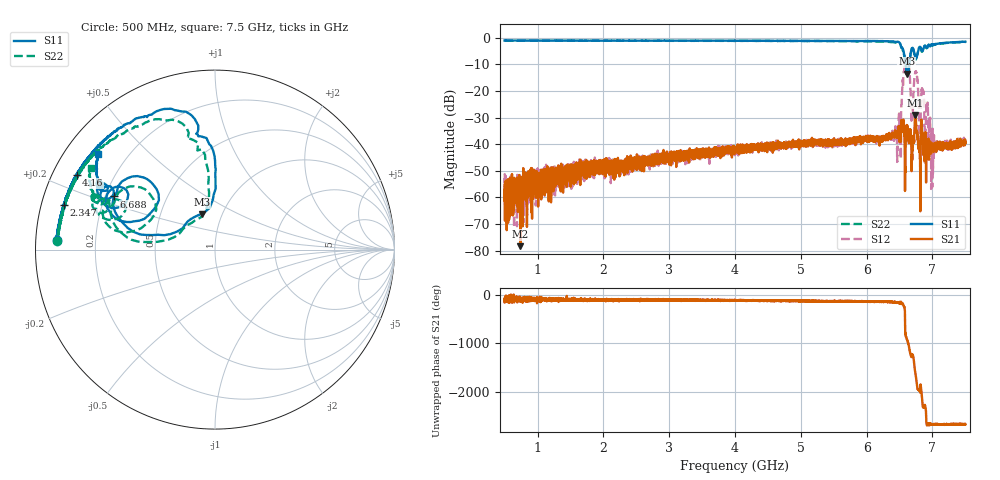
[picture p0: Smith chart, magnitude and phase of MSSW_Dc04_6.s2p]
!Keysight Technologies,M9374A,MY55442783,A.12.55.05
!Date: Wednesday, May 19, 2021 17:10:29
!Correction: S11(Full 2 Port(1,2))
!S21(Full 2 Port(1,2))
!S12(Full 2 Port(1,2))
!S22(Full 2 Port(1,2))
!S2P File: Measurements: S11, S21, S12, S22:
# Hz S  RI  R 50
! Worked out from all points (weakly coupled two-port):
!   7001 points, 500 MHz to 7.5 GHz, reference 50 ohm
!   highest |S21| = -29.06 dB at 6.739 GHz (marker M1); lowest = -78.3 dB at 741 MHz (marker M2)
!   lowest |S11| = -13.5 dB at 6.609 GHz (marker M3), VSWR 1.53, Z = 40.2 + j16.6 ohm
!   |S11| at or under -10 dB: 6.594 GHz to 6.646 GHz (52.13 MHz wide, 0.787 % of centre)
!   |S22| runs from -14.3 to -1.1 dB; largest |S21 - S12| = 0.38
!   S11 on the Smith chart (normalised r, x): 500 MHz: 0.06, +0.03; 2.347 GHz: 0.07, +0.14; 4.16 GHz: 0.07, +0.25; 6.688 GHz: 0.23, +0.23; 7.5 GHz: 0.10, +0.35
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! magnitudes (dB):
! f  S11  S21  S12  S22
! 500 MHz  -1.1  -57.4  -60.7  -1.1
! 741 MHz  -1.1  -78.3  -57.0  -1.1
! 1.667 GHz  -1.1  -50.5  -49.1  -1.2
! 2.347 GHz  -1.1  -47.7  -48.3  -1.2
! 2.834 GHz  -1.1  -45.1  -46.0  -1.2
! 4 GHz  -1.1  -41.6  -41.4  -1.2
! 4.16 GHz  -1.1  -41.7  -40.2  -1.2
! 5.167 GHz  -1.2  -39.5  -39.4  -1.3
! 6.334 GHz  -1.4  -37.6  -37.7  -1.6
! 6.489 GHz  -1.7  -33.9  -29.3  -2.0
! 6.566 GHz  -5.9  -35.4  -12.7  -6.2
! 6.609 GHz  -13.5  -33.7  -8.0  -14.2
! 6.636 GHz  -12.6  -36.6  -10.0  -12.5
! 6.688 GHz  -3.9  -45.4  -30.5  -4.1
! 6.739 GHz  -7.4  -29.1  -13.0  -8.0
! 6.758 GHz  -7.5  -35.0  -13.5  -7.5
! 6.788 GHz  -4.4  -40.4  -23.0  -4.3
! 6.848 GHz  -5.0  -35.7  -19.2  -5.1
! 6.913 GHz  -3.8  -38.8  -25.9  -4.0
! 6.932 GHz  -3.1  -43.5  -28.0  -3.1
! 7.003 GHz  -2.8  -40.3  -36.0  -2.8
! 7.5 GHz  -1.5  -39.3  -38.6  -1.6
